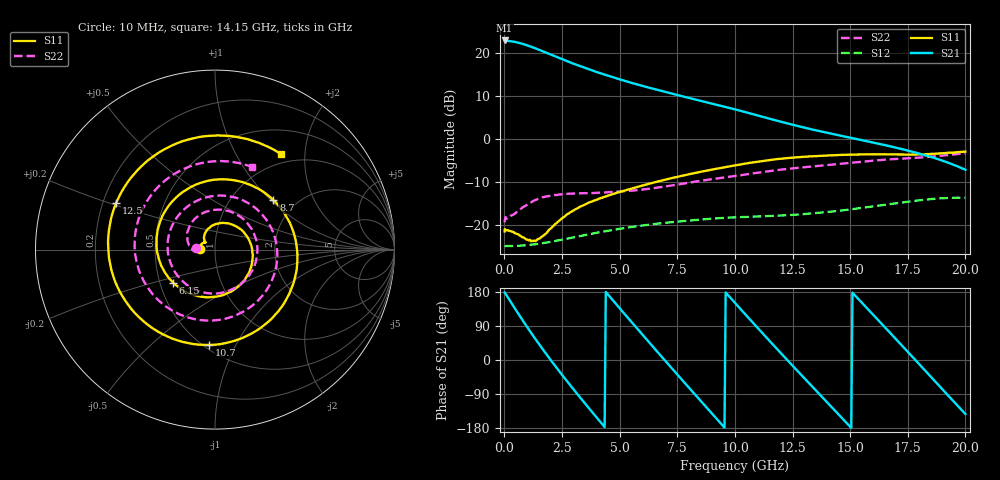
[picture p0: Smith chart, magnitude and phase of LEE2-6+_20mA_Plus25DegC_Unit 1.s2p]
!Mini-Circuits Laboratory
!S-Parameters
!Model: LEE2-6+
!Run / Lot / Date Code: N/A / N/A / N/A
!Fixture: TB-621+ DC 1602
!Network Analyzer: PNA-X N5242A - 423 4 ports;  Serial number: 71404
!Date: 4/12/2016 at 7:58:06 AM
!S/N: Unit# 1
!Tested with:
# Hz  S  dB  R  50
!Frequency  S11 dB  S11 Deg  S21 dB  S21 Deg  S12 dB  S12 Deg  S22 dB  S22 Deg
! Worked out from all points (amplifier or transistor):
!   408 points, 10 MHz to 20 GHz, reference 50 ohm
!   highest |S21| = 22.8 dB at 10 MHz (marker M1)
!   |S21| within 3 dB of that: start of sweep to 1.89 GHz
!   unconditionally stable (mu >= 1): start of sweep to end of sweep
!   at 3.05 GHz: K = 1.09, MAG = 18.1 dB, |S12| = -22.7 dB
!   at 9.85 GHz: K = 1.25, MAG = 9.6 dB, |S12| = -18.2 dB
!   at 20 GHz: K = 1.29, MAG = 0.0 dB, |S12| = -13.6 dB
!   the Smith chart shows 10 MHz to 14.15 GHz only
!   S11 on the Smith chart (normalised r, x): 10 MHz: 0.84, +0.01; 6.15 GHz: 0.59, -0.24; 8.7 GHz: 1.54, +1.04; 10.7 GHz: 0.53, -0.79; 12.5 GHz: 0.25, +0.21; 14.15 GHz: 0.85, +1.55
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1e7  -21.38 176.1  22.81 178.1  -24.71 0.7  -19.30 176.4
4.5e8  -21.82 159.3  22.48 136.6  -24.75 -21.1  -17.27 173.2
8e8  -22.77 148.0  22.00 104.0  -24.65 -37.5  -15.79 161.2
1.2e9  -23.56 143.2  21.28 68.2  -24.44 -56.2  -14.51 140.9
1.7e9  -22.32 139.9  20.23 25.4  -24.08 -80.1  -13.46 111.6
2.1e9  -20.22 127.9  19.35 -7.3  -23.69 -99.6  -13.04 87.1
2.55e9  -18.14 106.6  18.38 -42.9  -23.25 -122.3  -12.74 58.5
3.35e9  -15.53 57.8  16.73 -103.7  -22.39 -164.1  -12.55 7.2
3.9e9  -14.23 20.2  15.70 -144.2  -21.81 166.2  -12.47 -29.5
4.45e9  -13.20 -18.6  14.72 175.9  -21.27 135.8  -12.35 -66.0
5.3e9  -11.79 -80.3  13.33 115.3  -20.53 88.0  -12.06 -123.1
6.15e9  -10.56 -141.6  12.06 55.6  -19.90 39.3  -11.60 -178.5
6.7e9  -9.76 179.3  11.28 17.3  -19.55 7.6  -11.22 146.6
7.75e9  -8.45 105.7  9.85 -55.3  -19.00 -53.0  -10.34 81.4
8.7e9  -7.40 40.3  8.60 -120.5  -18.57 -108.0  -9.53 24.4
1.005e10  -6.06 -50.7  6.80 147.6  -18.10 173.6  -8.53 -56.4
1.07e10  -5.47 -93.4  5.87 103.8  -17.96 136.0  -8.02 -95.0
1.25e10  -4.31 154.6  3.31 -14.7  -17.56 33.8  -6.80 160.7
1.335e10  -4.00 103.6  2.21 -69.6  -17.23 -14.2  -6.34 112.2
1.415e10  -3.79 55.6  1.26 -121.2  -16.82 -59.6  -5.94 65.7
1.67e10  -3.56 -101.7  -1.65 73.7  -15.07 152.9  -4.71 -87.8
2e10  -2.91 40.6  -7.10 -142.5  -13.58 -50.6  -3.30 55.3
